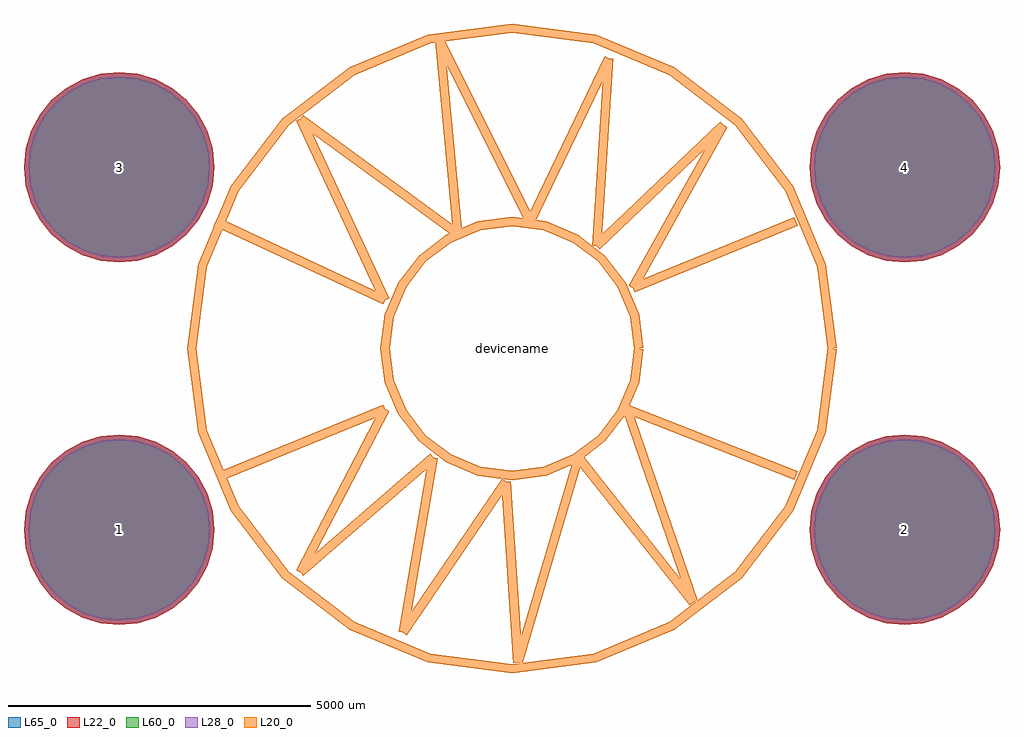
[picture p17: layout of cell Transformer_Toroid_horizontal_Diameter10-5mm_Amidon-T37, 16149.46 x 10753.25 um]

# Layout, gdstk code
import gdstk
lib = gdstk.Library(unit=1e-6, precision=1e-09)
def P(c, l, *ps):  # polygons
    for p in ps: c.add(gdstk.Polygon(p, *l))
L20_0 = (20, 0)
L22_0 = (22, 0)
L28_0 = (28, 0)
L60_0 = (60, 0)
L65_0 = (65, 0)

transformer_toroid_horiz = lib.new_cell('Transformer_Toroid_horizontal_Diameter10-5mm_Amidon-T37')
P(transformer_toroid_horiz, L22_0, [(8074.73,2999.74),(8044.469,3306.982),(7954.85,3602.417),(7809.317,3874.691),(7613.461,4113.341),(7374.811,4309.197),(7102.537,4454.73),(6807.102,4544.349),(6499.86,4574.61),(6192.618,4544.349),(5897.183,4454.73),(5624.909,4309.197),(5386.259,4113.341),(5190.403,3874.691),(5044.87,3602.417),(4955.251,3306.982),(4924.99,2999.74),(4955.251,2692.498),(5044.87,2397.063),(5190.403,2124.789),(5386.259,1886.139),(5624.909,1690.283),(5897.183,1544.75),(6192.618,1455.131),(6499.86,1424.87),(6807.102,1455.131),(7102.537,1544.75),(7374.811,1690.283),(7613.461,1886.139),(7809.317,2124.789),(7954.85,2397.063),(8044.469,2692.498)],
  [(-4924.99,2999.74),(-4955.251,3306.982),(-5044.87,3602.417),(-5190.403,3874.691),(-5386.259,4113.341),(-5624.909,4309.197),(-5897.183,4454.73),(-6192.618,4544.349),(-6499.86,4574.61),(-6807.102,4544.349),(-7102.537,4454.73),(-7374.811,4309.197),(-7613.461,4113.341),(-7809.317,3874.691),(-7954.85,3602.417),(-8044.469,3306.982),(-8074.73,2999.74),(-8044.469,2692.498),(-7954.85,2397.063),(-7809.317,2124.789),(-7613.461,1886.139),(-7374.811,1690.283),(-7102.537,1544.75),(-6807.102,1455.131),(-6499.86,1424.87),(-6192.618,1455.131),(-5897.183,1544.75),(-5624.909,1690.283),(-5386.259,1886.139),(-5190.403,2124.789),(-5044.87,2397.063),(-4955.251,2692.498)],
  [(8074.73,-2999.74),(8044.469,-2692.498),(7954.85,-2397.063),(7809.317,-2124.789),(7613.461,-1886.139),(7374.811,-1690.283),(7102.537,-1544.75),(6807.102,-1455.131),(6499.86,-1424.87),(6192.618,-1455.131),(5897.183,-1544.75),(5624.909,-1690.283),(5386.259,-1886.139),(5190.403,-2124.789),(5044.87,-2397.063),(4955.251,-2692.498),(4924.99,-2999.74),(4955.251,-3306.982),(5044.87,-3602.417),(5190.403,-3874.691),(5386.259,-4113.341),(5624.909,-4309.197),(5897.183,-4454.73),(6192.618,-4544.349),(6499.86,-4574.61),(6807.102,-4544.349),(7102.537,-4454.73),(7374.811,-4309.197),(7613.461,-4113.341),(7809.317,-3874.691),(7954.85,-3602.417),(8044.469,-3306.982)],
  [(-4924.99,-2999.74),(-4955.251,-2692.498),(-5044.87,-2397.063),(-5190.403,-2124.789),(-5386.259,-1886.139),(-5624.909,-1690.283),(-5897.183,-1544.75),(-6192.618,-1455.131),(-6499.86,-1424.87),(-6807.102,-1455.131),(-7102.537,-1544.75),(-7374.811,-1690.283),(-7613.461,-1886.139),(-7809.317,-2124.789),(-7954.85,-2397.063),(-8044.469,-2692.498),(-8074.73,-2999.74),(-8044.469,-3306.982),(-7954.85,-3602.417),(-7809.317,-3874.691),(-7613.461,-4113.341),(-7374.811,-4309.197),(-7102.537,-4454.73),(-6807.102,-4544.349),(-6499.86,-4574.61),(-6192.618,-4544.349),(-5897.183,-4454.73),(-5624.909,-4309.197),(-5386.259,-4113.341),(-5190.403,-3874.691),(-5044.87,-3602.417),(-4955.251,-3306.982)])
P(transformer_toroid_horiz, L28_0, [(7999.73,2999.74),(7970.91,3292.35),(7885.559,3573.715),(7746.956,3833.023),(7560.428,4060.308),(7333.143,4246.836),(7073.835,4385.439),(6792.47,4470.79),(6499.86,4499.61),(6207.25,4470.79),(5925.885,4385.439),(5666.577,4246.836),(5439.292,4060.308),(5252.764,3833.023),(5114.161,3573.715),(5028.81,3292.35),(4999.99,2999.74),(5028.81,2707.13),(5114.161,2425.765),(5252.764,2166.457),(5439.292,1939.172),(5666.577,1752.644),(5925.885,1614.041),(6207.25,1528.69),(6499.86,1499.87),(6792.47,1528.69),(7073.835,1614.041),(7333.143,1752.644),(7560.428,1939.172),(7746.956,2166.457),(7885.559,2425.765),(7970.91,2707.13)],
  [(-4999.99,2999.74),(-5028.81,3292.35),(-5114.161,3573.715),(-5252.764,3833.023),(-5439.292,4060.308),(-5666.577,4246.836),(-5925.885,4385.439),(-6207.25,4470.79),(-6499.86,4499.61),(-6792.47,4470.79),(-7073.835,4385.439),(-7333.143,4246.836),(-7560.428,4060.308),(-7746.956,3833.023),(-7885.559,3573.715),(-7970.91,3292.35),(-7999.73,2999.74),(-7970.91,2707.13),(-7885.559,2425.765),(-7746.956,2166.457),(-7560.428,1939.172),(-7333.143,1752.644),(-7073.835,1614.041),(-6792.47,1528.69),(-6499.86,1499.87),(-6207.25,1528.69),(-5925.885,1614.041),(-5666.577,1752.644),(-5439.292,1939.172),(-5252.764,2166.457),(-5114.161,2425.765),(-5028.81,2707.13)],
  [(7999.73,-2999.74),(7970.91,-2707.13),(7885.559,-2425.765),(7746.956,-2166.457),(7560.428,-1939.172),(7333.143,-1752.644),(7073.835,-1614.041),(6792.47,-1528.69),(6499.86,-1499.87),(6207.25,-1528.69),(5925.885,-1614.041),(5666.577,-1752.644),(5439.292,-1939.172),(5252.764,-2166.457),(5114.161,-2425.765),(5028.81,-2707.13),(4999.99,-2999.74),(5028.81,-3292.35),(5114.161,-3573.715),(5252.764,-3833.023),(5439.292,-4060.308),(5666.577,-4246.836),(5925.885,-4385.439),(6207.25,-4470.79),(6499.86,-4499.61),(6792.47,-4470.79),(7073.835,-4385.439),(7333.143,-4246.836),(7560.428,-4060.308),(7746.956,-3833.023),(7885.559,-3573.715),(7970.91,-3292.35)],
  [(-4999.99,-2999.74),(-5028.81,-2707.13),(-5114.161,-2425.765),(-5252.764,-2166.457),(-5439.292,-1939.172),(-5666.577,-1752.644),(-5925.885,-1614.041),(-6207.25,-1528.69),(-6499.86,-1499.87),(-6792.47,-1528.69),(-7073.835,-1614.041),(-7333.143,-1752.644),(-7560.428,-1939.172),(-7746.956,-2166.457),(-7885.559,-2425.765),(-7970.91,-2707.13),(-7999.73,-2999.74),(-7970.91,-3292.35),(-7885.559,-3573.715),(-7746.956,-3833.023),(-7560.428,-4060.308),(-7333.143,-4246.836),(-7073.835,-4385.439),(-6792.47,-4470.79),(-6499.86,-4499.61),(-6207.25,-4470.79),(-5925.885,-4385.439),(-5666.577,-4246.836),(-5439.292,-4060.308),(-5252.764,-3833.023),(-5114.161,-3573.715),(-5028.81,-3292.35)])
P(transformer_toroid_horiz, L60_0, [(7999.73,2999.74),(7970.91,3292.35),(7885.559,3573.715),(7746.956,3833.023),(7560.428,4060.308),(7333.143,4246.836),(7073.835,4385.439),(6792.47,4470.79),(6499.86,4499.61),(6207.25,4470.79),(5925.885,4385.439),(5666.577,4246.836),(5439.292,4060.308),(5252.764,3833.023),(5114.161,3573.715),(5028.81,3292.35),(4999.99,2999.74),(5028.81,2707.13),(5114.161,2425.765),(5252.764,2166.457),(5439.292,1939.172),(5666.577,1752.644),(5925.885,1614.041),(6207.25,1528.69),(6499.86,1499.87),(6792.47,1528.69),(7073.835,1614.041),(7333.143,1752.644),(7560.428,1939.172),(7746.956,2166.457),(7885.559,2425.765),(7970.91,2707.13)],
  [(-4999.99,2999.74),(-5028.81,3292.35),(-5114.161,3573.715),(-5252.764,3833.023),(-5439.292,4060.308),(-5666.577,4246.836),(-5925.885,4385.439),(-6207.25,4470.79),(-6499.86,4499.61),(-6792.47,4470.79),(-7073.835,4385.439),(-7333.143,4246.836),(-7560.428,4060.308),(-7746.956,3833.023),(-7885.559,3573.715),(-7970.91,3292.35),(-7999.73,2999.74),(-7970.91,2707.13),(-7885.559,2425.765),(-7746.956,2166.457),(-7560.428,1939.172),(-7333.143,1752.644),(-7073.835,1614.041),(-6792.47,1528.69),(-6499.86,1499.87),(-6207.25,1528.69),(-5925.885,1614.041),(-5666.577,1752.644),(-5439.292,1939.172),(-5252.764,2166.457),(-5114.161,2425.765),(-5028.81,2707.13)],
  [(7999.73,-2999.74),(7970.91,-2707.13),(7885.559,-2425.765),(7746.956,-2166.457),(7560.428,-1939.172),(7333.143,-1752.644),(7073.835,-1614.041),(6792.47,-1528.69),(6499.86,-1499.87),(6207.25,-1528.69),(5925.885,-1614.041),(5666.577,-1752.644),(5439.292,-1939.172),(5252.764,-2166.457),(5114.161,-2425.765),(5028.81,-2707.13),(4999.99,-2999.74),(5028.81,-3292.35),(5114.161,-3573.715),(5252.764,-3833.023),(5439.292,-4060.308),(5666.577,-4246.836),(5925.885,-4385.439),(6207.25,-4470.79),(6499.86,-4499.61),(6792.47,-4470.79),(7073.835,-4385.439),(7333.143,-4246.836),(7560.428,-4060.308),(7746.956,-3833.023),(7885.559,-3573.715),(7970.91,-3292.35)],
  [(-4999.99,-2999.74),(-5028.81,-2707.13),(-5114.161,-2425.765),(-5252.764,-2166.457),(-5439.292,-1939.172),(-5666.577,-1752.644),(-5925.885,-1614.041),(-6207.25,-1528.69),(-6499.86,-1499.87),(-6792.47,-1528.69),(-7073.835,-1614.041),(-7333.143,-1752.644),(-7560.428,-1939.172),(-7746.956,-2166.457),(-7885.559,-2425.765),(-7970.91,-2707.13),(-7999.73,-2999.74),(-7970.91,-3292.35),(-7885.559,-3573.715),(-7746.956,-3833.023),(-7560.428,-4060.308),(-7333.143,-4246.836),(-7073.835,-4385.439),(-6792.47,-4470.79),(-6499.86,-4499.61),(-6207.25,-4470.79),(-5925.885,-4385.439),(-5666.577,-4246.836),(-5439.292,-4060.308),(-5252.764,-3833.023),(-5114.161,-3573.715),(-5028.81,-3292.35)])
P(transformer_toroid_horiz, L65_0, [(8074.73,2999.74),(8044.469,3306.982),(7954.85,3602.417),(7809.317,3874.691),(7613.461,4113.341),(7374.811,4309.197),(7102.537,4454.73),(6807.102,4544.349),(6499.86,4574.61),(6192.618,4544.349),(5897.183,4454.73),(5624.909,4309.197),(5386.259,4113.341),(5190.403,3874.691),(5044.87,3602.417),(4955.251,3306.982),(4924.99,2999.74),(4955.251,2692.498),(5044.87,2397.063),(5190.403,2124.789),(5386.259,1886.139),(5624.909,1690.283),(5897.183,1544.75),(6192.618,1455.131),(6499.86,1424.87),(6807.102,1455.131),(7102.537,1544.75),(7374.811,1690.283),(7613.461,1886.139),(7809.317,2124.789),(7954.85,2397.063),(8044.469,2692.498)],
  [(-4924.99,2999.74),(-4955.251,3306.982),(-5044.87,3602.417),(-5190.403,3874.691),(-5386.259,4113.341),(-5624.909,4309.197),(-5897.183,4454.73),(-6192.618,4544.349),(-6499.86,4574.61),(-6807.102,4544.349),(-7102.537,4454.73),(-7374.811,4309.197),(-7613.461,4113.341),(-7809.317,3874.691),(-7954.85,3602.417),(-8044.469,3306.982),(-8074.73,2999.74),(-8044.469,2692.498),(-7954.85,2397.063),(-7809.317,2124.789),(-7613.461,1886.139),(-7374.811,1690.283),(-7102.537,1544.75),(-6807.102,1455.131),(-6499.86,1424.87),(-6192.618,1455.131),(-5897.183,1544.75),(-5624.909,1690.283),(-5386.259,1886.139),(-5190.403,2124.789),(-5044.87,2397.063),(-4955.251,2692.498)],
  [(8074.73,-2999.74),(8044.469,-2692.498),(7954.85,-2397.063),(7809.317,-2124.789),(7613.461,-1886.139),(7374.811,-1690.283),(7102.537,-1544.75),(6807.102,-1455.131),(6499.86,-1424.87),(6192.618,-1455.131),(5897.183,-1544.75),(5624.909,-1690.283),(5386.259,-1886.139),(5190.403,-2124.789),(5044.87,-2397.063),(4955.251,-2692.498),(4924.99,-2999.74),(4955.251,-3306.982),(5044.87,-3602.417),(5190.403,-3874.691),(5386.259,-4113.341),(5624.909,-4309.197),(5897.183,-4454.73),(6192.618,-4544.349),(6499.86,-4574.61),(6807.102,-4544.349),(7102.537,-4454.73),(7374.811,-4309.197),(7613.461,-4113.341),(7809.317,-3874.691),(7954.85,-3602.417),(8044.469,-3306.982)],
  [(-4924.99,-2999.74),(-4955.251,-2692.498),(-5044.87,-2397.063),(-5190.403,-2124.789),(-5386.259,-1886.139),(-5624.909,-1690.283),(-5897.183,-1544.75),(-6192.618,-1455.131),(-6499.86,-1424.87),(-6807.102,-1455.131),(-7102.537,-1544.75),(-7374.811,-1690.283),(-7613.461,-1886.139),(-7809.317,-2124.789),(-7954.85,-2397.063),(-8044.469,-2692.498),(-8074.73,-2999.74),(-8044.469,-3306.982),(-7954.85,-3602.417),(-7809.317,-3874.691),(-7613.461,-4113.341),(-7374.811,-4309.197),(-7102.537,-4454.73),(-6807.102,-4544.349),(-6499.86,-4574.61),(-6192.618,-4544.349),(-5897.183,-4454.73),(-5624.909,-4309.197),(-5386.259,-4113.341),(-5190.403,-3874.691),(-5044.87,-3602.417),(-4955.251,-3306.982)])
transformer_toroid_horiz.add(gdstk.FlexPath([(5300.98,0),(5120.353,1371.995),(4590.783,2650.49),(3748.359,3748.359),(2650.49,4590.783),(1371.995,5120.353),(0,5300.98),(-1371.995,5120.353),(-2650.49,4590.783),(-3748.359,3748.359),(-4590.783,2650.49),(-5120.353,1371.995),(-5300.98,0),(-5120.353,-1371.995),(-4590.783,-2650.49),(-3748.359,-3748.359),(-2650.49,-4590.783),(-1371.995,-5120.353),(0,-5300.98),(1371.995,-5120.353),(2650.49,-4590.783),(3748.359,-3748.359),(4590.783,-2650.49),(5120.353,-1371.995),(5300.98,0)], 149.998, ends="flush", simple_path=True, layer=20, datatype=0))  # L20_0
transformer_toroid_horiz.add(gdstk.FlexPath([(2100.58,0),(2029.004,543.67),(1819.156,1050.29),(1485.334,1485.334),(1050.29,1819.156),(543.67,2029.004),(0,2100.58),(-543.67,2029.004),(-1050.29,1819.156),(-1485.334,1485.334),(-1819.156,1050.29),(-2029.004,543.67),(-2100.58,0),(-2029.004,-543.67),(-1819.156,-1050.29),(-1485.334,-1485.334),(-1050.29,-1819.156),(-543.67,-2029.004),(0,-2100.58),(543.67,-2029.004),(1050.29,-1819.156),(1485.334,-1485.334),(1819.156,-1050.29),(2029.004,-543.67),(2100.58,0)], 149.998, ends="flush", simple_path=True, layer=20, datatype=0))  # L20_0
transformer_toroid_horiz.add(gdstk.FlexPath([(1998.98,1000.76),(4699,2100.58)], 149.998, ends="flush", simple_path=True, layer=20, datatype=0))  # L20_0
transformer_toroid_horiz.add(gdstk.FlexPath([(3500.12,3700.78),(1998.98,1000.76)], 149.998, ends="flush", simple_path=True, layer=20, datatype=0))  # L20_0
transformer_toroid_horiz.add(gdstk.FlexPath([(1399.54,1699.26),(3500.12,3700.78)], 149.998, ends="flush", simple_path=True, layer=20, datatype=0))  # L20_0
transformer_toroid_horiz.add(gdstk.FlexPath([(1600.2,4800.6),(1399.54,1699.26)], 149.998, ends="flush", simple_path=True, layer=20, datatype=0))  # L20_0
transformer_toroid_horiz.add(gdstk.FlexPath([(299.72,2100.58),(1600.2,4800.6)], 149.998, ends="flush", simple_path=True, layer=20, datatype=0))  # L20_0
transformer_toroid_horiz.add(gdstk.FlexPath([(-1198.88,5100.32),(299.72,2100.58)], 149.998, ends="flush", simple_path=True, layer=20, datatype=0))  # L20_0
transformer_toroid_horiz.add(gdstk.FlexPath([(-899.16,1899.92),(-1198.88,5100.32)], 149.998, ends="flush", simple_path=True, layer=20, datatype=0))  # L20_0
transformer_toroid_horiz.add(gdstk.FlexPath([(-3500.12,3799.84),(-899.16,1899.92)], 149.998, ends="flush", simple_path=True, layer=20, datatype=0))  # L20_0
transformer_toroid_horiz.add(gdstk.FlexPath([(-2100.58,800.1),(-3500.12,3799.84)], 149.998, ends="flush", simple_path=True, layer=20, datatype=0))  # L20_0
transformer_toroid_horiz.add(gdstk.FlexPath([(-4899.66,2100.58),(-2100.58,800.1)], 149.998, ends="flush", simple_path=True, layer=20, datatype=0))  # L20_0
transformer_toroid_horiz.add(gdstk.FlexPath([(1899.92,-1000.76),(4699,-2100.58)], 149.998, ends="flush", simple_path=True, layer=20, datatype=0))  # L20_0
transformer_toroid_horiz.add(gdstk.FlexPath([(2999.74,-4201.16),(1899.92,-1000.76)], 149.998, ends="flush", simple_path=True, layer=20, datatype=0))  # L20_0
transformer_toroid_horiz.add(gdstk.FlexPath([(1099.82,-1800.86),(2999.74,-4201.16)], 149.998, ends="flush", simple_path=True, layer=20, datatype=0))  # L20_0
transformer_toroid_horiz.add(gdstk.FlexPath([(99.06,-5199.38),(1099.82,-1800.86)], 149.998, ends="flush", simple_path=True, layer=20, datatype=0))  # L20_0
transformer_toroid_horiz.add(gdstk.FlexPath([(-99.06,-2199.64),(99.06,-5199.38)], 149.998, ends="flush", simple_path=True, layer=20, datatype=0))  # L20_0
transformer_toroid_horiz.add(gdstk.FlexPath([(-1800.86,-4699),(-99.06,-2199.64)], 149.998, ends="flush", simple_path=True, layer=20, datatype=0))  # L20_0
transformer_toroid_horiz.add(gdstk.FlexPath([(-1300.48,-1800.86),(-1800.86,-4699)], 149.998, ends="flush", simple_path=True, layer=20, datatype=0))  # L20_0
transformer_toroid_horiz.add(gdstk.FlexPath([(-3500.12,-3700.78),(-1300.48,-1800.86)], 149.998, ends="flush", simple_path=True, layer=20, datatype=0))  # L20_0
transformer_toroid_horiz.add(gdstk.FlexPath([(-2100.58,-1000.76),(-3500.12,-3700.78)], 149.998, ends="flush", simple_path=True, layer=20, datatype=0))  # L20_0
transformer_toroid_horiz.add(gdstk.FlexPath([(-4800.6,-2100.58),(-2100.58,-1000.76)], 149.998, ends="flush", simple_path=True, layer=20, datatype=0))  # L20_0
transformer_toroid_horiz.add(gdstk.Label('4', (6499.86,2999.74), layer=28, texttype=0))
transformer_toroid_horiz.add(gdstk.Label('3', (-6499.86,2999.74), layer=28, texttype=0))
transformer_toroid_horiz.add(gdstk.Label('2', (6499.86,-2999.74), layer=28, texttype=0))
transformer_toroid_horiz.add(gdstk.Label('1', (-6499.86,-2999.74), layer=28, texttype=0))
transformer_toroid_horiz.add(gdstk.Label('type', (0,-7620), layer=9, texttype=0))
transformer_toroid_horiz.add(gdstk.Label('devicename', (0,0), layer=9, texttype=0))

lib.write_gds('Transformer_Toroid_horizontal_Diameter10-5mm_Amidon-T37.gds')
